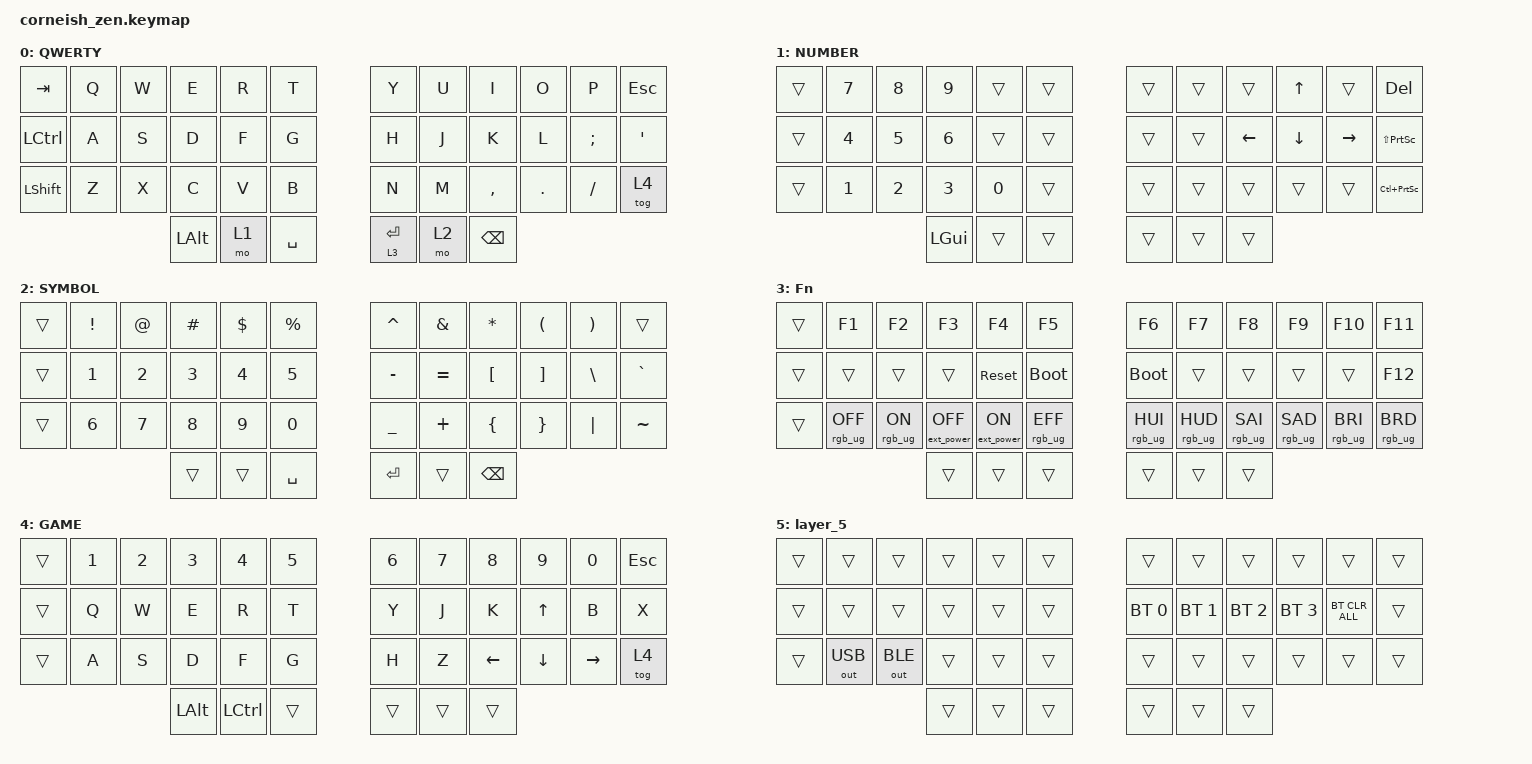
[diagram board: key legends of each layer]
/*
 * Copyright (c) 2020 The ZMK Contributors
 *
 * SPDX-License-Identifier: MIT
 */

#include <behaviors.dtsi>
#include <dt-bindings/zmk/bt.h>
#include <dt-bindings/zmk/ext_power.h>
#include <dt-bindings/zmk/keys.h>
#include <dt-bindings/zmk/outputs.h>
#include <dt-bindings/zmk/rgb.h>

#define DEFAULT 0
#define NAVI    4
#define NONE 0

/ {
    chosen {
        zmk,matrix_transform = &default_transform;

        // zmk,matrix_transform = &five_column_transform;
    };
};

/ {
    behaviors {
        td0: td0 {
            compatible = "zmk,behavior-tap-dance";
            label = "TD0";
            #binding-cells = <0>;
            bindings = <&kp LEFT_SHIFT>, <&kp CAPS>;
        };
    };

    keymap {
        compatible = "zmk,keymap";

        default_layer {
            display-name = "QWERTY";

            // --------------------------------------------------------------------------------
            // |  TAB |  Q  |  W  |  E  |  R  |  T  |   |  Y  |  U   |  I  |  O  |  P  | ESC  |
            // | CTRL |  A  |  S  |  D  |  F  |  G  |   |  H  |  J   |  K  |  L  |  ;  |  '   | 
            // | SHFT |  Z  |  X  |  C  |  V  |  B  |   |  N  |  M   |  ,  |  .  |  /  | TOGL |
            //                    |LALT | LWR | SPC |   | ENT | RSE  | BACKSPACE |

            bindings = <
&kp TAB    &kp Q  &kp W  &kp E     &kp R  &kp T        &kp Y        &kp U  &kp I      &kp O    &kp P     &kp ESC
&kp LCTRL  &kp A  &kp S  &kp D     &kp F  &kp G        &kp H        &kp J  &kp K      &kp L    &kp SEMI  &kp SQT
&kp LSHFT  &kp Z  &kp X  &kp C     &kp V  &kp B        &kp N        &kp M  &kp COMMA  &kp DOT  &kp FSLH  &tog 4
                         &kp LALT  &mo 1  &kp SPACE    &lt 3 ENTER  &mo 2  &kp BSPC
            >;
        };

        lower_layer {
            display-name = "NUMBER";

            // -----------------------------------------------------------------------------------------
            // |  TAB  |  7  |  8 |  9 |     |   |    |     |     | UP  |     | DEL   |
            // | CTRL  |  4  |  5 |  6 |     |   |    |     | LFT | DWN | RGT | SFTPSN|
            // | SHFT  |  1  |  2 |  3 |  0  |   | BT1| BT2 | BT3 | BT4 |BTCLR| CTLPSN|
            //                    |    | SPC |   |    |     |     |

            bindings = <
&trans  &kp N7  &kp N8  &kp N9        &trans  &trans    &trans  &trans  &trans    &kp UP    &trans     &kp DEL
&trans  &kp N4  &kp N5  &kp N6        &trans  &trans    &trans  &trans  &kp LEFT  &kp DOWN  &kp RIGHT  &kp LS(PSCRN)
&trans  &kp N1  &kp N2  &kp N3        &kp N0  &trans    &trans  &trans  &trans    &trans    &trans     &kp LC(PSCRN)
                        &kp LEFT_GUI  &trans  &trans    &trans  &trans  &trans
            >;
        };

        raise_layer {
            display-name = "SYMBOL";

            // -----------------------------------------------------------------------------------------
            // |  TAB |  !  |  @  |  #  |  $  |  %  |   |  ^  |  &  |  *  |  (  |  )  |      |
            // | CTRL |     |     |     |     |     |   |  -  |  =  |  [  |  ]  |  \  |  `   |
            // | SHFT |     |     |     |     |     |   |  _  |  +  |  {  |  }  | "|" |  ~   |
            //                    |     |     | SPC |   | ENT |     |     |

            bindings = <
&trans  &kp EXCL  &kp AT  &kp HASH  &kp DLLR  &kp PRCNT    &kp CARET  &kp AMPS   &kp ASTRK  &kp LPAR  &kp RPAR  &trans
&trans  &kp N1    &kp N2  &kp N3    &kp N4    &kp N5       &kp MINUS  &kp EQUAL  &kp LBKT   &kp RBKT  &kp BSLH  &kp GRAVE
&trans  &kp N6    &kp N7  &kp N8    &kp N9    &kp N0       &kp UNDER  &kp PLUS   &kp LBRC   &kp RBRC  &kp PIPE  &kp TILDE
                          &trans    &trans    &kp SPACE    &kp RET    &trans     &kp BSPC
            >;
        };

        layer_3 {
            display-name = "Fn";
            bindings = <
&trans  &kp F1           &kp F2          &kp F3             &kp F4            &kp F5             &kp F6           &kp F7           &kp F8           &kp F9           &kp F10          &kp F11
&trans  &trans           &trans          &trans             &sys_reset        &bootloader        &bootloader      &trans           &trans           &trans           &trans           &kp F12
&trans  &rgb_ug RGB_OFF  &rgb_ug RGB_ON  &ext_power EP_OFF  &ext_power EP_ON  &rgb_ug RGB_EFF    &rgb_ug RGB_HUI  &rgb_ug RGB_HUD  &rgb_ug RGB_SAI  &rgb_ug RGB_SAD  &rgb_ug RGB_BRI  &rgb_ug RGB_BRD
                                         &trans             &trans            &trans             &trans           &trans           &trans
            >;
        };

        nav_layer {
            display-name = "GAME";
            bindings = <
&trans  &kp N1  &kp N2  &kp N3    &kp N4     &kp N5    &kp N6  &kp N7  &kp N8    &kp N9    &kp N0     &kp ESC
&trans  &kp Q   &kp W   &kp E     &kp R      &kp T     &kp Y   &kp J   &kp K     &kp UP    &kp B      &kp X
&trans  &kp A   &kp S   &kp D     &kp F      &kp G     &kp H   &kp Z   &kp LEFT  &kp DOWN  &kp RIGHT  &tog 4
                        &kp LALT  &kp LCTRL  &trans    &trans  &trans  &trans
            >;
        };

        layer_5 {
            bindings = <
&trans  &trans        &trans        &trans  &trans  &trans    &trans        &trans        &trans        &trans        &trans          &trans
&trans  &trans        &trans        &trans  &trans  &trans    &bt BT_SEL 0  &bt BT_SEL 1  &bt BT_SEL 2  &bt BT_SEL 3  &bt BT_CLR_ALL  &trans
&trans  &out OUT_USB  &out OUT_BLE  &trans  &trans  &trans    &trans        &trans        &trans        &trans        &trans          &trans
                                    &trans  &trans  &trans    &trans        &trans        &trans
            >;
        };
    };

    conditional_layers {
        compatible = "zmk,conditional-layers";

        doublelayer {
            if-layers = <1 2>;
            then-layer = <5>;
        };
    };
};
